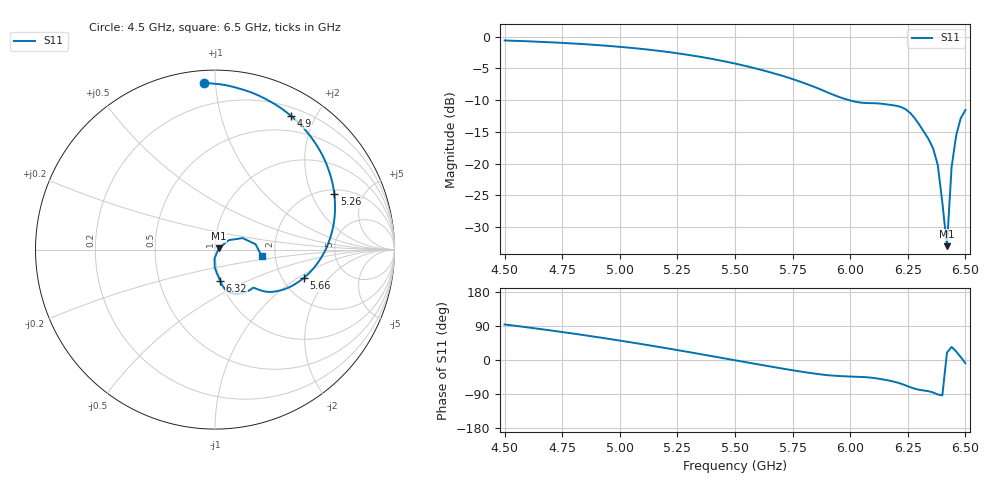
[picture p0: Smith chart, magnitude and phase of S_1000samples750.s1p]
! TOUCHSTONE file generated by CST MICROWAVE STUDIO
! Date and time: Sat Oct 29 06:25:09 2022
! Project name: L.cst
! Parameters = {Di=1.27; Epsilon_r=1.56; InnerDiameter=1.27; Length=2; Lf=10; Lg=60; OuterConductorThickness=0.2921; OuterDiameter=3.6; Wf=3; Wp=41.2; de=1.5; df=6.8; g=0.8; gx=2.83074; gy=4.85037; h=2.34; hf=1.524; px=13.5039; py=12.4293; w=9.7; wx=10.6731; wy=7.57897}
! Header version: 2018
! Port assignment regex: !\s*Touchstone port\s*([0-9]+)\s*=\s*(CST MWS port|CST DS port)\s*([0-9]+|Zmin|Zmax)\s*\(\"(.*)\"\)(\s*mode\s*([0-9]+))?.*
! Touchstone port assignment:
! Touchstone port 1 = CST MWS port 1 ("")
# GHz S DB R 50
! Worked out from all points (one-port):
!   101 points, 4.5 GHz to 6.5 GHz, reference 50 ohm
!   lowest |S11| = -33.0 dB at 6.42 GHz (marker M1), VSWR 1.05, Z = 52.2 + j0.771 ohm
!   |S11| at or under -10 dB: 5.994 GHz to end of sweep
!   S11 on the Smith chart (normalised r, x): 4.5 GHz: 0.07, +0.93; 4.9 GHz: 0.30, +1.67; 5.26 GHz: 2.21, +2.97; 5.66 GHz: 2.60, -1.13; 6.32 GHz: 1.00, -0.36; 6.5 GHz: 1.70, -0.14
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4.5  -0.62 93.8
4.62  -0.78 84.5
4.76  -1.02 72.9
4.9  -1.34 60.6
5  -1.62 51.2
5.14  -2.13 37.5
5.26  -2.69 25.1
5.38  -3.39 12.3
5.5  -4.26 -0.7
5.58  -4.94 -9.3
5.66  -5.71 -17.8
5.76  -6.82 -28.1
5.84  -7.87 -35.4
5.9  -8.77 -39.9
6  -10.06 -43.7
6.06  -10.45 -45.1
6.16  -10.69 -53.3
6.22  -11.09 -62.5
6.26  -12.02 -71.6
6.32  -14.99 -80.5
6.36  -17.61 -85.7
6.38  -20.20 -91.0
6.4  -26.14 -93.1
6.42  -33.00 19.3
6.44  -20.61 34.5
6.46  -15.54 22.5
6.48  -12.84 7.5
6.5  -11.58 -8.2
